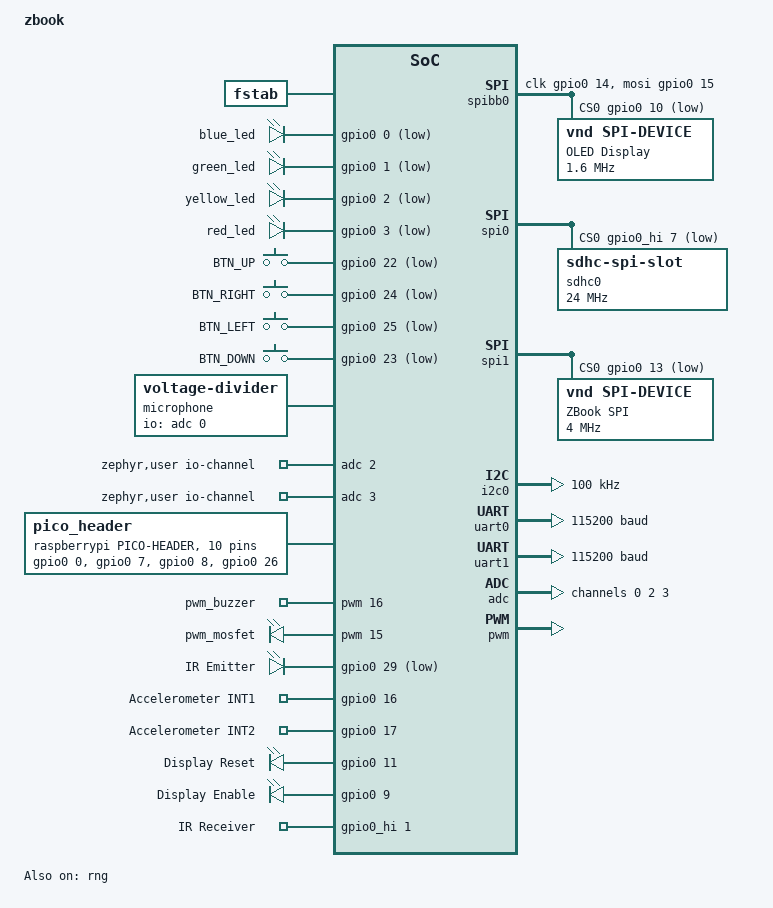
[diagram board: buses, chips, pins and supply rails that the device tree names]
/**
* @file zbook_rp2350b_m33-common.dtsi
* @brief Shared hardware description for the Zbook board, included by both the
*        standalone (zbook_rp2350b_m33.dts) and MCUboot (..._mcuboot.dts)
*        variants. Flash partitions and zephyr,code-partition are variant
*        specific and therefore live in the per-variant .dts files.
*
* @copyright Copyright (c) Centro de Inovação EDGE
*/

#include <zephyr/dt-bindings/led/led.h>
#include <zephyr/dt-bindings/pwm/pwm.h>
#include "zbook-pinctrl.dtsi"

/ {
	model = "zbook";
	compatible = "edge,zbook";

	chosen {
		zephyr,sram = &sram0;
		zephyr,flash = &flash0;
		zephyr,console = &uart0;
		zephyr,shell-uart = &uart0;
		zephyr,settings-partition = &storage_partition;
	};

	aliases {
		led0 = &blue_led;
		led1 = &green_led;
		led2 = &yellow_led;
		led3 = &red_led;
		button0 = &button1;
		button1 = &button2;
		button2 = &button3;
		button3 = &button4;
		led-strip = &ws2812;
		pwm-buzzer = &pwm_buzzer;
		pwm-mosfet = &pwm_mosfet;
		zbook-uart = &uart1;
		zbook-pio = &pio0;
	};

	/*
	 * LittleFS auto-mounted on the `storage` flash partition at /lfs, used by
	 * the settings FILE backend (CONFIG_SETTINGS_FILE) to persist Wi-Fi
	 * credentials to a file instead of NVS. The node is inert unless
	 * CONFIG_FILE_SYSTEM_LITTLEFS=y, so non-LittleFS builds are unaffected.
	 * Geometry matches the RP2350 flash (write-block-size 1, erase-block 4 KB):
	 * cache-size divides the 4 KB erase block; read/prog-size divide cache-size.
	 */
	fstab {
		compatible = "zephyr,fstab";

		lfs_storage: lfs_storage {
			compatible = "zephyr,fstab,littlefs";
			mount-point = "/lfs";
			partition = <&storage_partition>;
			automount;
			read-size = <16>;
			prog-size = <16>;
			cache-size = <64>;
			lookahead-size = <32>;
			block-cycles = <512>;
		};
	};

	leds {
		compatible = "gpio-leds";

		blue_led: blue {
			gpios = <&gpio0 0 GPIO_ACTIVE_LOW>;
		};

		green_led: green {
			gpios = <&gpio0 1 GPIO_ACTIVE_LOW>;
		};

		yellow_led: yellow {
			gpios = <&gpio0 2 GPIO_ACTIVE_LOW>;
		};

		red_led: red {
			gpios = <&gpio0 3 GPIO_ACTIVE_LOW>;
		};
	};

	buttons {
		compatible = "gpio-keys";

		button1: button1 {
			label = "BTN_UP";
			gpios = <&gpio0 22 GPIO_ACTIVE_LOW>;
		};

		button2: button2 {
			label = "BTN_RIGHT";
			gpios = <&gpio0 24 GPIO_ACTIVE_LOW>;
		};

		button3: button3 {
			label = "BTN_LEFT";
			gpios = <&gpio0 25 GPIO_ACTIVE_LOW>;
		};

		button4: button4 {
			label = "BTN_DOWN";
			gpios = <&gpio0 23 GPIO_ACTIVE_LOW>;
		};
	};

	microphone: microphone {
		compatible = "voltage-divider";
		io-channels = <&adc 0>;
		output-ohms = <15000>;
		full-ohms = <285000>;
	};

	/*
	 * Raw ADC access for the LDR (channel 2) and the free channel 3, with
	 * no dedicated consumer/sensor binding — the standard Zephyr pattern
	 * for "just give me the raw channel" (see samples/drivers/adc/adc_dt).
	 * Channel 0 (potentiometer, shared with `microphone` above) is read
	 * via the microphone node's own io-channels instead of duplicating it
	 * here, since it's the same physical channel.
	 */
	zephyr,user {
		io-channels = <&adc 2>, <&adc 3>;
	};

	pico_header: connector {
		compatible = "raspberrypi,pico-header";
		#gpio-cells = <2>;
		gpio-map-mask = <0xffffffff 0xffffffc0>;
		gpio-map-pass-thru = <0 0x3f>;
		gpio-map = <0 0 &gpio0 0 0>,	/* GP0 */
		<7 0 &gpio0 7 0>,	/* GP7 */
		<8 0 &gpio0 8 0>,	/* GP8 */
		<26 0 &gpio0 26 0>,	/* GP26 */
		<27 0 &gpio0 27 0>,	/* GP27 */
		<41 0 &gpio0_hi 9 0>,	/* GP41 */
		<44 0 &gpio0_hi 12 0>,	/* GP44 */
		<45 0 &gpio0_hi 13 0>,	/* GP45 */
		<46 0 &gpio0_hi 14 0>,	/* GP46 */
		<47 0 &gpio0_hi 15 0>;	/* GP47 */
	};

	pwm_outputs {
		compatible = "pwm-leds";

		pwm_buzzer: pwm_buzzer_node {
			pwms = <&pwm 16 PWM_USEC(500) PWM_POLARITY_NORMAL>;
		};

		pwm_mosfet: pwm_mosfet_node {
			pwms = <&pwm 15 PWM_MSEC(20) PWM_POLARITY_NORMAL>;
		};
	};

	spibb0: spibb0 {
		compatible = "zephyr,spi-bitbang";
		status = "okay";
		#address-cells = <1>;
		#size-cells = <0>;

		clk-gpios = <&gpio0 14 GPIO_ACTIVE_HIGH>;
		mosi-gpios = <&gpio0 15 GPIO_ACTIVE_HIGH>;
		cs-gpios = <&gpio0 10 GPIO_ACTIVE_LOW>;

		display_spi: display_spi@0 {
			compatible = "vnd,spi-device";

			reg = <0>;
			spi-max-frequency = <1600000>;
			label = "OLED Display";
		};
	};
};

&spi0 {
	pinctrl-0 = <&spi0_default>;
	cs-gpios = <&gpio0_hi 7 GPIO_ACTIVE_LOW>;
	pinctrl-names = "default";

	status = "okay";
	sdhc0: sdhc@0 {
		compatible = "zephyr,sdhc-spi-slot";
		reg = <0>;
		status = "okay";
		mmc {
			compatible = "zephyr,sdmmc-disk";
			disk-name = "SD";
			status = "okay";
		};
		spi-max-frequency = <24000000>;
	};
};

&spi1 {
	pinctrl-0 = <&spi1_default>;
	pinctrl-names = "default";

	cs-gpios = <&gpio0 13 GPIO_ACTIVE_LOW>;

	status = "okay";

	zbook_spi: zbook_spi@0 {
		compatible = "vnd,spi-device";

		reg = <0>;
		spi-max-frequency = <4000000>;
		label = "ZBook SPI";
	};
};

&flash0 {
	reg = <0x10000000 DT_SIZE_M(2)>;
};

&i2c0 {
	clock-frequency = <I2C_BITRATE_STANDARD>;
	pinctrl-0 = <&i2c0_default>;
	pinctrl-names = "default";
	status = "okay";
};

&gpio0 {
	status = "okay";

	actuators {
		compatible = "gpio-leds";

		ir_emitter: ir_emitter {
			gpios = <&gpio0 29 GPIO_ACTIVE_LOW>;
			label = "IR Emitter";
		};
	};

	accelerometer {
		compatible = "gpio-keys";

		int1: int1 {
			gpios = <&gpio0 16 GPIO_ACTIVE_HIGH>;
			label = "Accelerometer INT1";
		};

		int2: int2 {
			gpios = <&gpio0 17 GPIO_ACTIVE_HIGH>;
			label = "Accelerometer INT2";
		};
	};

	display {
		compatible = "gpio-leds";

		display_reset: display_reset {
			gpios = <&gpio0 11 GPIO_ACTIVE_HIGH>;
			label = "Display Reset";
		};

		display_en: display_en {
			gpios = <&gpio0 9 GPIO_ACTIVE_HIGH>;
			label = "Display Enable";
		};
	};
};

&uart0 {
	status = "okay";
	current-speed = <115200>;
	pinctrl-0 = <&uart0_default>;
	pinctrl-names = "default";
};

&uart1 {
	status = "okay";
	current-speed = <115200>;
	pinctrl-0 = <&uart1_default>;
	pinctrl-names = "default";
	/* ESP8266 Wi-Fi module lives on the zbook_wifi shield (--shield zbook_wifi). */
};

&adc {
	status = "okay";
	#address-cells = <1>;
	#size-cells = <0>;

	pinctrl-0 = <&adc_default>;
	pinctrl-names = "default";

	potentiometer: channel@0 {
		reg = <0>;
		zephyr,gain = "ADC_GAIN_1";
		zephyr,reference = "ADC_REF_INTERNAL";
		zephyr,acquisition-time = <0>;
		zephyr,resolution = <12>;
	};

	ldr_adc: channel@2 {
		reg = <2>;
		zephyr,gain = "ADC_GAIN_1";
		zephyr,reference = "ADC_REF_INTERNAL";
		zephyr,acquisition-time = <0>;
		zephyr,resolution = <12>;
	};

	channel@3 {
		reg = <3>;
		zephyr,gain = "ADC_GAIN_1";
		zephyr,reference = "ADC_REF_INTERNAL";
		zephyr,acquisition-time = <0>;
		zephyr,resolution = <12>;
	};
};

&pio0 {
	/* Free for runtime PIO consumers (e.g. zbook_uart_register_pin()). */
	status = "okay";
};

&pio1 {
	status = "okay";

	/*
	* Need to put this on PIO1 as having this on PIO0 causes the GPIO hog to
	* not work.
	*/
	pio_ws2812: ws2812 {
		compatible = "worldsemi,ws2812-rpi_pico-pio";
		status = "okay";
		pinctrl-0 = <&pio1_ws2812_default>;
		pinctrl-names = "default";
		bit-waveform = <3>, <3>, <4>;

		ws2812: ws2812 {
			status = "okay";
			gpios = <&gpio0 6 GPIO_ACTIVE_HIGH>;
			chain-length = <1>;
			color-mapping = <LED_COLOR_ID_GREEN
			LED_COLOR_ID_RED
			LED_COLOR_ID_BLUE>;
			reset-delay = <280>;
			frequency = <800000>;
		};
	};
};

&pwm {
	status = "okay";
	pinctrl-0 = <&pwm_default>;
	pinctrl-names = "default";
	divider-int-0 = <255>;
};

&gpio0_hi {
	status = "okay";

	sensors {
		compatible = "gpio-keys";

		ir_receiver: ir-receiver {
			gpios = <&gpio0_hi 1 GPIO_ACTIVE_HIGH>;
			label = "IR Receiver";
		};
	};
};

&rng {
	status = "okay";
};
